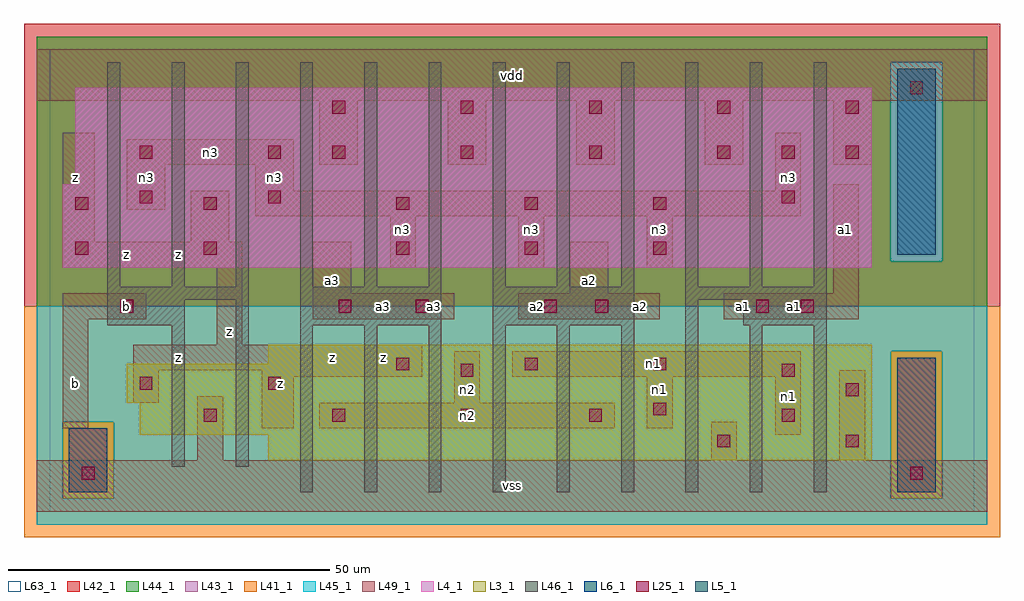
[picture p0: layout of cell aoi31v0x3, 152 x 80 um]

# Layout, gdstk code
import gdstk
lib = gdstk.Library(unit=1e-6, precision=1e-09)
def R(c, l, rs):  # rectangles x0, y0, x1, y1
    for r in rs: c.add(gdstk.rectangle(r[:2], r[2:], *l))
def A(c, l, x, y, w, h, nx, ny, dx, dy):  # array of equal rectangles
    R(c, l, [(x+i*dx, y+j*dy, x+i*dx+w, y+j*dy+h) for i in range(nx) for j in range(ny)])
L3_1 = (3, 1)
L4_1 = (4, 1)
L5_1 = (5, 1)
L6_1 = (6, 1)
L25_1 = (25, 1)
L41_1 = (41, 1)
L42_1 = (42, 1)
L43_1 = (43, 1)
L44_1 = (44, 1)
L45_1 = (45, 1)
L46_1 = (46, 1)
L49_1 = (49, 1)
L63_1 = (63, 1)

aoi31v0x3 = lib.new_cell('aoi31v0x3')
R(aoi31v0x3, L3_1, [(34,8,128,12), (14,12,128,17), (12,17,128,23), (34,23,128,26)])
R(aoi31v0x3, L4_1, [(2,38,128,51), (4,51,128,66)])
R(aoi31v0x3, L5_1, [(132,40,138,69)])
R(aoi31v0x3, L6_1, [(3,3,9,13), (3,3,9,13), (132,3,138,24), (132,3,138,24)])
A(aoi31v0x3, L25_1, 24, 14, 2, 2, 4, 1, 20, 0)
A(aoi31v0x3, L25_1, 54, 22, 2, 2, 3, 2, 20, 18)
A(aoi31v0x3, L25_1, 54, 47, 2, 2, 3, 1, 20, 0)
A(aoi31v0x3, L25_1, 44, 55, 2, 2, 4, 1, 20, 0)
A(aoi31v0x3, L25_1, 44, 62, 2, 2, 5, 1, 20, 0)
R(aoi31v0x3, L25_1, [(5,5,7,7), (134,5,136,7), (104,10,106,12), (124,10,126,12), (114,14,116,16), (94,15,96,17), (124,18,126,20), (14,19,16,21), (34,19,36,21), (64,21,66,23), (114,21,116,23), (11,31,13,33), (45,31,47,33), (57,31,59,33), (77,31,79,33), (85,31,87,33), (110,31,112,33), (117,31,119,33), (4,40,6,42), (24,40,26,42), (4,47,6,49), (24,47,26,49), (14,48,16,50), (34,48,36,50), (114,48,116,50), (14,55,16,57), (34,55,36,57), (114,55,116,57), (124,55,126,57), (134,65,136,67)])
R(aoi31v0x3, L41_1, [(-4,-4,148,32)])
R(aoi31v0x3, L42_1, [(-4,32,148,76)])
R(aoi31v0x3, L43_1, [(3,3,9,13), (132,3,138,24), (34,8,128,12), (14,12,128,17), (12,17,128,23), (34,23,128,26), (2,38,128,51), (132,40,138,69), (4,51,128,66)])
R(aoi31v0x3, L44_1, [(2,2,10,14), (131,2,139,25), (-2,32,146,39), (-2,39,131,70), (139,39,146,70), (-2,70,146,74)])
R(aoi31v0x3, L45_1, [(-2,-2,146,2), (-2,2,2,14), (10,2,131,14), (139,2,146,25), (-2,14,131,25), (-2,25,146,32), (131,39,139,70)])
A(aoi31v0x3, L46_1, 39, 3, 2, 26, 6, 1, 10, 0)
A(aoi31v0x3, L46_1, 9, 35, 2, 35, 12, 1, 10, 0)
R(aoi31v0x3, L46_1, [(99,3,101,33), (109,3,111,29), (119,3,121,29), (19,7,21,29), (29,7,31,33), (9,29,21,33), (39,29,61,35), (69,29,91,35), (108,29,121,33), (9,33,31,35), (99,33,121,35)])
A(aoi31v0x3, L49_1, 53, 38, 4, 8, 3, 1, 20, 0)
A(aoi31v0x3, L49_1, 42, 54, 6, 10, 5, 1, 20, 0)
R(aoi31v0x3, L49_1, [(-2,0,146,8), (23,8,27,18), (103,8,107,14), (123,8,127,22), (113,12,117,21), (2,13,6,30), (33,13,38,21), (42,13,88,17), (93,13,97,21), (13,17,17,22), (63,17,67,25), (33,21,58,22), (72,21,117,25), (13,22,58,26), (26,26,30,38), (2,30,15,34), (41,30,63,34), (73,30,95,34), (105,30,126,34), (41,34,47,42), (81,34,87,42), (122,34,126,51), (2,38,30,42), (2,42,7,59), (22,42,28,50), (32,46,117,50), (12,47,18,54), (32,50,38,54), (113,50,117,59), (12,54,38,58), (-2,64,146,72)])
R(aoi31v0x3, L63_1, [(0,0,144,72)])
aoi31v0x3.add(gdstk.Label('z', (20,24), layer=49, texttype=1))
aoi31v0x3.add(gdstk.Label('b', (4,20), layer=49, texttype=1))
aoi31v0x3.add(gdstk.Label('b', (12,32), layer=49, texttype=1))
aoi31v0x3.add(gdstk.Label('z', (12,40), layer=49, texttype=1))
aoi31v0x3.add(gdstk.Label('z', (20,40), layer=49, texttype=1))
aoi31v0x3.add(gdstk.Label('z', (4,52), layer=49, texttype=1))
aoi31v0x3.add(gdstk.Label('n3', (15,52), layer=49, texttype=1))
aoi31v0x3.add(gdstk.Label('z', (44,24), layer=49, texttype=1))
aoi31v0x3.add(gdstk.Label('z', (52,24), layer=49, texttype=1))
aoi31v0x3.add(gdstk.Label('z', (36,20), layer=49, texttype=1))
aoi31v0x3.add(gdstk.Label('a3', (52,32), layer=49, texttype=1))
aoi31v0x3.add(gdstk.Label('z', (28,28), layer=49, texttype=1))
aoi31v0x3.add(gdstk.Label('a3', (44,36), layer=49, texttype=1))
aoi31v0x3.add(gdstk.Label('n3', (35,52), layer=49, texttype=1))
aoi31v0x3.add(gdstk.Label('n3', (25,56), layer=49, texttype=1))
aoi31v0x3.add(gdstk.Label('vss', (72,4), layer=49, texttype=1))
aoi31v0x3.add(gdstk.Label('n2', (65,19), layer=49, texttype=1))
aoi31v0x3.add(gdstk.Label('a2', (76,32), layer=49, texttype=1))
aoi31v0x3.add(gdstk.Label('a3', (60,32), layer=49, texttype=1))
aoi31v0x3.add(gdstk.Label('a2', (84,36), layer=49, texttype=1))
aoi31v0x3.add(gdstk.Label('n3', (75,44), layer=49, texttype=1))
aoi31v0x3.add(gdstk.Label('n3', (55,44), layer=49, texttype=1))
aoi31v0x3.add(gdstk.Label('vdd', (72,68), layer=49, texttype=1))
aoi31v0x3.add(gdstk.Label('n1', (95,19), layer=49, texttype=1))
aoi31v0x3.add(gdstk.Label('n2', (65,15), layer=49, texttype=1))
aoi31v0x3.add(gdstk.Label('a1', (108,32), layer=49, texttype=1))
aoi31v0x3.add(gdstk.Label('a2', (92,32), layer=49, texttype=1))
aoi31v0x3.add(gdstk.Label('n3', (95,44), layer=49, texttype=1))
aoi31v0x3.add(gdstk.Label('n1', (115,18), layer=49, texttype=1))
aoi31v0x3.add(gdstk.Label('n1', (94,23), layer=49, texttype=1))
aoi31v0x3.add(gdstk.Label('a1', (116,32), layer=49, texttype=1))
aoi31v0x3.add(gdstk.Label('a1', (124,44), layer=49, texttype=1))
aoi31v0x3.add(gdstk.Label('n3', (115,52), layer=49, texttype=1))

lib.write_gds('aoi31v0x3.gds')
